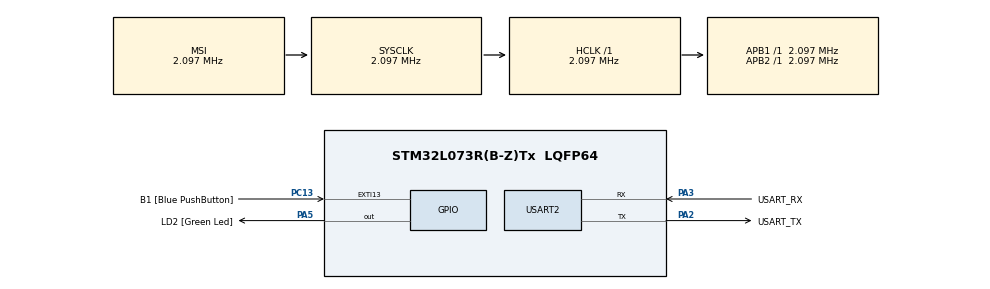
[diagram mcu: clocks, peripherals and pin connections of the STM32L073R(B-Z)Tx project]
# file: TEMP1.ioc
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Mcu.Family=STM32L0
RCC.MSI_VALUE=2097000
PC15-OSC32_OUT.Mode=LSE-External-Oscillator
PH0-OSC_IN.Signal=RCC_OSC_IN
Dma.ADC.0.Mode=DMA_NORMAL
VP_ADC_TempSens_Input.Mode=IN-TempSens
PC13.Signal=GPXTI13
PA14.GPIO_Label=TCK
VP_ADC_Vref_Input.Mode=IN-Vrefint
Dma.ADC.0.Priority=DMA_PRIORITY_LOW
PC13.GPIO_Label=B1 [Blue PushButton]
PC14-OSC32_IN.Signal=RCC_OSC32_IN
ProjectManager.StackSize=0x400
Dma.ADC.0.PeriphDataAlignment=DMA_PDATAALIGN_HALFWORD
PA3.Mode=Asynchronous
PA13.Signal=SYS_SWDIO
RCC.HSI16_VALUE=16000000
ProjectManager.TargetToolchain=STM32CubeIDE
Dma.ADC.0.PeriphInc=DMA_PINC_DISABLE
RCC.APB2TimFreq_Value=2097000
PC15-OSC32_OUT.Signal=RCC_OSC32_OUT
RCC.AHBFreq_Value=2097000
PH0-OSC_IN.Mode=HSE-External-Clock-Source
PH0-OSC_IN.GPIO_Label=MCO
Dma.ADC.0.Direction=DMA_PERIPH_TO_MEMORY
ADC.SamplingTime=ADC_SAMPLETIME_79CYCLES_5
PA5.Signal=GPIO_Output
RCC.HSE_VALUE=8000000
ADC.DMAContinuousRequests=ENABLE
board=NUCLEO-L073RZ
USART2.VirtualMode-Asynchronous=VM_ASYNC
RCC.VCOOutputFreq_Value=48000000
RCC.APB2Freq_Value=2097000
PC14-OSC32_IN.Mode=LSE-External-Oscillator
PA14.Mode=Serial_Wire
PA13.Mode=Serial_Wire
Mcu.Name=STM32L073R(B-Z)Tx
PA2.Signal=USART2_TX
PA13.GPIO_Label=TMS
Dma.ADC.0.MemInc=DMA_MINC_ENABLE
RCC.SYSCLKFreq_VALUE=2097000
Mcu.Package=LQFP64
PA5.GPIO_Label=LD2 [Green Led]
PC13.GPIO_ModeDefaultEXTI=GPIO_MODE_IT_FALLING
Dma.ADC.0.Instance=DMA1_Channel1
PA2.GPIO_Label=USART_TX
PA14.Signal=SYS_SWCLK
ProjectManager.HeapSize=0x200
RCC.HSI_VALUE=16000000
Dma.ADC.0.MemDataAlignment=DMA_MDATAALIGN_HALFWORD
RCC.APB1TimFreq_Value=2097000
PA2.Mode=Asynchronous
NVIC.DMA1_Channel1_IRQn=true\:0\:0\:false\:false\:true\:false\:true
Dma.Request0=ADC
RCC.APB1Freq_Value=2097000
ADC.ContinuousConvMode=ENABLE
RCC.HSI48_VALUE=48000000
PA3.GPIO_Label=USART_RX
PA3.Signal=USART2_RX

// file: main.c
/* USER CODE BEGIN Header */
/**
  ******************************************************************************
  * @file           : main.c
  * @brief          : Main program body
  ******************************************************************************
  * @attention
  *
  * <h2><center>&copy; Copyright (c) 2021 STMicroelectronics.
  * All rights reserved.</center></h2>
  *
  * This software component is licensed by ST under BSD 3-Clause license,
  * the "License"; You may not use this file except in compliance with the
  * License. You may obtain a copy of the License at:
  *                        opensource.org/licenses/BSD-3-Clause
  *
  ******************************************************************************
  */
/* USER CODE END Header */
#include "main.h"

/* USER CODE BEGIN PM */
#define TEMP130_CAL_ADDR ((uint16_t*) ((uint32_t) 0x1FF8007E))
#define TEMP30_CAL_ADDR ((uint16_t*) ((uint32_t) 0x1FF8007A))
#define VDD_CALIB ((uint16_t) (300))
#define VDD_APPLI ((uint16_t) (330))
/* USER CODE END PM */

ADC_HandleTypeDef hadc;
DMA_HandleTypeDef hdma_adc;

UART_HandleTypeDef huart2;

/* USER CODE BEGIN PV */
int32_t temperature;
int32_t temperature1;
int32_t temperature2;
int32_t temperature3;
/* USER CODE END PV */

void SystemClock_Config(void);
static void MX_GPIO_Init(void);
static void MX_DMA_Init(void);
static void MX_USART2_UART_Init(void);
static void MX_ADC_Init(void);

/* USER CODE BEGIN 0 */
void ADC_Init()
{
	RCC->APB2ENR |= RCC_APB2ENR_ADCEN;   	/* Enable ADC clock */

	ADC1->CFGR2 |= ADC_CFGR2_CKMODE_0
			    |  ADC_CFGR2_CKMODE_1;      /* ADC Clock = PCLK (2.097MHz) */
	ADC->CCR |= ADC_CCR_LFMEN;				/* Enable if ADC Clock Freq < 3.5MHz */
	ADC1->CFGR1 |= ADC_CFGR1_CONT;          /* Continous conversions */
	ADC1->CHSELR = ADC_CHSELR_CHSEL18; 		/* Channel 18 - Temperature sensor */
	ADC1->SMPR |= ADC_SMPR_SMP; 			/* Sampling time - 160.5 ADC cycles */
	ADC->CCR |= ADC_CCR_TSEN;				/* Enable temperature sensor */

	ADC1->ISR |= ADC_ISR_ADRDY; 			/* Clearing bit ADRDY (ADC ready) */
	ADC1->CR |= ADC_CR_ADEN; 				/* Enable ADC */
	while((ADC1->ISR & ADC_ISR_ADRDY) == 0) /* Wait for turn on */
		;
	ADC1->CR |= ADC_CR_ADSTART;				/* Start */

    }
/* USER CODE END 0 */

int main(void)
{

  /* MCU Configuration--------------------------------------------------------*/

  /* Reset of all peripherals, Initializes the Flash interface and the Systick. */
  HAL_Init();

  /* Configure the system clock */
  SystemClock_Config();

  /* Initialize all configured peripherals */
  MX_GPIO_Init();
  MX_DMA_Init();
  MX_USART2_UART_Init();
  MX_ADC_Init();
  /* USER CODE BEGIN 2 */
 ADC_Init();
 HAL_ADCEx_EnableVREFINT();
 HAL_ADCEx_EnableVREFINTTempSensor();
 SET_BIT(SYSCFG->CFGR3, SYSCFG_CFGR3_ENBUF_SENSOR_ADC);

  /* USER CODE END 2 */

  /* Infinite loop */
  /* USER CODE BEGIN WHILE */
  while (1)
  {
	  	 temperature = (((int32_t)ADC1->DR * VDD_APPLI / VDD_CALIB) - (int32_t) *TEMP30_CAL_ADDR );
	 	 temperature1 = temperature * (int32_t)(130 - 30);
	 	 temperature2 = temperature1 / (int32_t)(*TEMP130_CAL_ADDR - *TEMP30_CAL_ADDR);
	 	 temperature3 = temperature2 + 30;

    /* USER CODE END WHILE */

  }
}

void SystemClock_Config(void)
{
  RCC_OscInitTypeDef RCC_OscInitStruct = {0};
  RCC_ClkInitTypeDef RCC_ClkInitStruct = {0};
  RCC_PeriphCLKInitTypeDef PeriphClkInit = {0};

  /** Configure the main internal regulator output voltage
  */
  __HAL_PWR_VOLTAGESCALING_CONFIG(PWR_REGULATOR_VOLTAGE_SCALE1);
  /** Initializes the RCC Oscillators according to the specified parameters
  * in the RCC_OscInitTypeDef structure.
  */
  RCC_OscInitStruct.OscillatorType = RCC_OSCILLATORTYPE_MSI;
  RCC_OscInitStruct.MSIState = RCC_MSI_ON;
  RCC_OscInitStruct.MSICalibrationValue = 0;
  RCC_OscInitStruct.MSIClockRange = RCC_MSIRANGE_5;
  RCC_OscInitStruct.PLL.PLLState = RCC_PLL_NONE;
  if (HAL_RCC_OscConfig(&RCC_OscInitStruct) != HAL_OK)
  {
    Error_Handler();
  }
  /** Initializes the CPU, AHB and APB buses clocks
  */
  RCC_ClkInitStruct.ClockType = RCC_CLOCKTYPE_HCLK|RCC_CLOCKTYPE_SYSCLK
                              |RCC_CLOCKTYPE_PCLK1|RCC_CLOCKTYPE_PCLK2;
  RCC_ClkInitStruct.SYSCLKSource = RCC_SYSCLKSOURCE_MSI;
  RCC_ClkInitStruct.AHBCLKDivider = RCC_SYSCLK_DIV1;
  RCC_ClkInitStruct.APB1CLKDivider = RCC_HCLK_DIV1;
  RCC_ClkInitStruct.APB2CLKDivider = RCC_HCLK_DIV1;

  if (HAL_RCC_ClockConfig(&RCC_ClkInitStruct, FLASH_LATENCY_0) != HAL_OK)
  {
    Error_Handler();
  }
  PeriphClkInit.PeriphClockSelection = RCC_PERIPHCLK_USART2;
  PeriphClkInit.Usart2ClockSelection = RCC_USART2CLKSOURCE_PCLK1;
  if (HAL_RCCEx_PeriphCLKConfig(&PeriphClkInit) != HAL_OK)
  {
    Error_Handler();
  }
}

static void MX_ADC_Init(void)
{

  ADC_ChannelConfTypeDef sConfig = {0};

  /** Configure the global features of the ADC (Clock, Resolution, Data Alignment and number of conversion)
  */
  hadc.Instance = ADC1;
  hadc.Init.OversamplingMode = DISABLE;
  hadc.Init.ClockPrescaler = ADC_CLOCK_SYNC_PCLK_DIV1;
  hadc.Init.Resolution = ADC_RESOLUTION_12B;
  hadc.Init.SamplingTime = ADC_SAMPLETIME_79CYCLES_5;
  hadc.Init.ScanConvMode = ADC_SCAN_DIRECTION_FORWARD;
  hadc.Init.DataAlign = ADC_DATAALIGN_RIGHT;
  hadc.Init.ContinuousConvMode = ENABLE;
  hadc.Init.DiscontinuousConvMode = DISABLE;
  hadc.Init.ExternalTrigConvEdge = ADC_EXTERNALTRIGCONVEDGE_NONE;
  hadc.Init.ExternalTrigConv = ADC_SOFTWARE_START;
  hadc.Init.DMAContinuousRequests = ENABLE;
  hadc.Init.EOCSelection = ADC_EOC_SINGLE_CONV;
  hadc.Init.Overrun = ADC_OVR_DATA_PRESERVED;
  hadc.Init.LowPowerAutoWait = DISABLE;
  hadc.Init.LowPowerFrequencyMode = ENABLE;
  hadc.Init.LowPowerAutoPowerOff = DISABLE;
  if (HAL_ADC_Init(&hadc) != HAL_OK)
  {
    Error_Handler();
  }
  /** Configure for the selected ADC regular channel to be converted.
  */
  sConfig.Channel = ADC_CHANNEL_TEMPSENSOR;
  sConfig.Rank = ADC_RANK_CHANNEL_NUMBER;
  if (HAL_ADC_ConfigChannel(&hadc, &sConfig) != HAL_OK)
  {
    Error_Handler();
  }
  /** Configure for the selected ADC regular channel to be converted.
  */
  sConfig.Channel = ADC_CHANNEL_VREFINT;
  if (HAL_ADC_ConfigChannel(&hadc, &sConfig) != HAL_OK)
  {
    Error_Handler();
  }

}

static void MX_USART2_UART_Init(void)
{

  huart2.Instance = USART2;
  huart2.Init.BaudRate = 115200;
  huart2.Init.WordLength = UART_WORDLENGTH_8B;
  huart2.Init.StopBits = UART_STOPBITS_1;
  huart2.Init.Parity = UART_PARITY_NONE;
  huart2.Init.Mode = UART_MODE_TX_RX;
  huart2.Init.HwFlowCtl = UART_HWCONTROL_NONE;
  huart2.Init.OverSampling = UART_OVERSAMPLING_16;
  huart2.Init.OneBitSampling = UART_ONE_BIT_SAMPLE_DISABLE;
  huart2.AdvancedInit.AdvFeatureInit = UART_ADVFEATURE_NO_INIT;
  if (HAL_UART_Init(&huart2) != HAL_OK)
  {
    Error_Handler();
  }

}

static void MX_DMA_Init(void)
{

  /* DMA controller clock enable */
  __HAL_RCC_DMA1_CLK_ENABLE();

  /* DMA interrupt init */
  /* DMA1_Channel1_IRQn interrupt configuration */
  HAL_NVIC_SetPriority(DMA1_Channel1_IRQn, 0, 0);
  HAL_NVIC_EnableIRQ(DMA1_Channel1_IRQn);

}

static void MX_GPIO_Init(void)
{
  GPIO_InitTypeDef GPIO_InitStruct = {0};

  /* GPIO Ports Clock Enable */
  __HAL_RCC_GPIOC_CLK_ENABLE();
  __HAL_RCC_GPIOH_CLK_ENABLE();
  __HAL_RCC_GPIOA_CLK_ENABLE();

  /*Configure GPIO pin Output Level */
  HAL_GPIO_WritePin(LD2_GPIO_Port, LD2_Pin, GPIO_PIN_RESET);

  /*Configure GPIO pin : B1_Pin */
  GPIO_InitStruct.Pin = B1_Pin;
  GPIO_InitStruct.Mode = GPIO_MODE_IT_FALLING;
  GPIO_InitStruct.Pull = GPIO_NOPULL;
  HAL_GPIO_Init(B1_GPIO_Port, &GPIO_InitStruct);

  /*Configure GPIO pin : LD2_Pin */
  GPIO_InitStruct.Pin = LD2_Pin;
  GPIO_InitStruct.Mode = GPIO_MODE_OUTPUT_PP;
  GPIO_InitStruct.Pull = GPIO_NOPULL;
  GPIO_InitStruct.Speed = GPIO_SPEED_FREQ_LOW;
  HAL_GPIO_Init(LD2_GPIO_Port, &GPIO_InitStruct);

}

void Error_Handler(void)
{
  __disable_irq();
  while (1)
  {
  }
}

/************************ (C) COPYRIGHT STMicroelectronics *****END OF FILE****/
